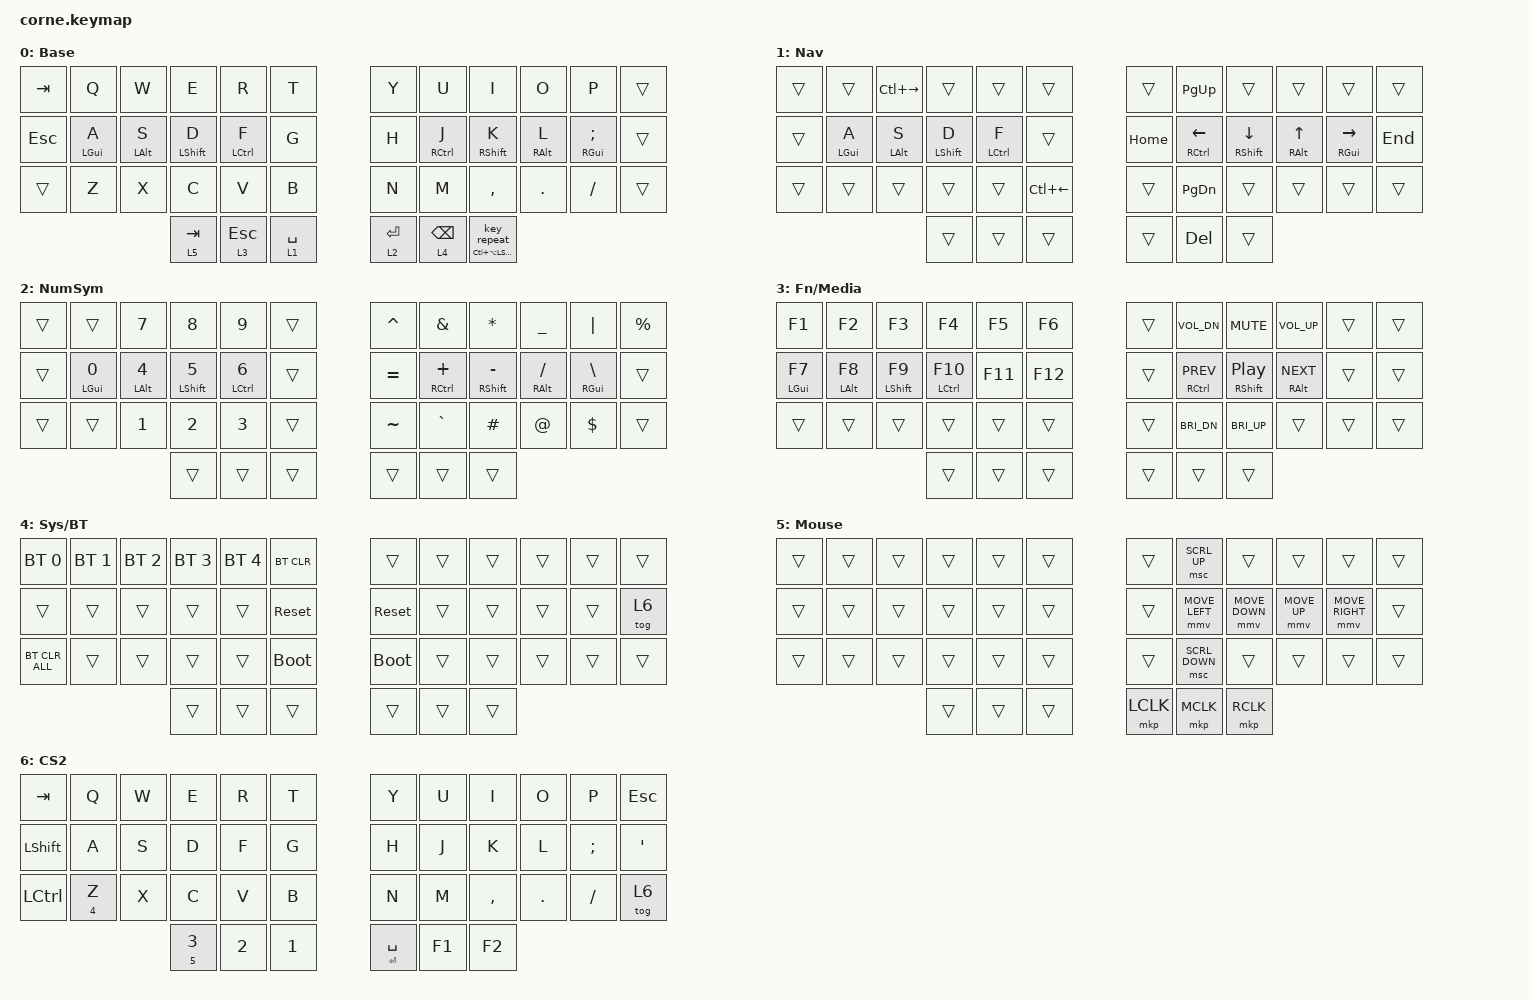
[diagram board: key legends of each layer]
#include <behaviors.dtsi>
#include <dt-bindings/zmk/keys.h>
#include <dt-bindings/zmk/bt.h>
#include <dt-bindings/zmk/pointing.h>

// Key position definitions for Corne (42-key layout)
// Numbers correspond to the key matrix positions
#define KEYS_L  0  1  2  3  4  5 \
               12 13 14 15 16 17 \
               24 25 26 27 28 29

#define KEYS_R  6  7  8  9 10 11 \
               18 19 20 21 22 23 \
               30 31 32 33 34 35

#define THUMBS 36 37 38 39 40 41

// Timing definitions
#define QUICK_TAP_MS 175

// Homerow mod macro definition (adapted from urob's timeless homerow mods)
#define MAKE_HRM(NAME, HOLD, TAP, TRIGGER_POS) \
    ZMK_HOLD_TAP(NAME, \
        bindings = <HOLD>, <TAP>; \
        flavor = "balanced"; \
        tapping-term-ms = <280>; \
        quick-tap-ms = <QUICK_TAP_MS>; \
        require-prior-idle-ms = <150>; \
        hold-trigger-on-release; \
        hold-trigger-key-positions = <TRIGGER_POS>;)

// Define ZMK_HOLD_TAP macro
#define ZMK_HOLD_TAP(name, ...) \
    name: name { \
        compatible = "zmk,behavior-hold-tap"; \
        #binding-cells = <2>; \
        __VA_ARGS__ \
    };


/ {
  behaviors {
    // Left-hand homerow mods
    MAKE_HRM(hml, &kp, &kp, KEYS_R THUMBS)
    
    // Right-hand homerow mods  
    MAKE_HRM(hmr, &kp, &kp, KEYS_L THUMBS)
    
    // Space hold-tap: tap for space, hold for nav layer
    spc_nav: spc_nav {
      compatible = "zmk,behavior-hold-tap";
      #binding-cells = <2>;
      flavor = "balanced";
      tapping-term-ms = <280>;
      quick-tap-ms = <QUICK_TAP_MS>;
      require-prior-idle-ms = <150>;
      bindings = <&mo>, <&kp>;
      hold-trigger-key-positions = <KEYS_L KEYS_R>;
      hold-trigger-on-release;
    };
    
    // Enter hold-tap: tap for enter, hold for numsym layer
    ret_numsym: ret_numsym {
      compatible = "zmk,behavior-hold-tap";
      #binding-cells = <2>;
      flavor = "balanced";
      tapping-term-ms = <280>;
      quick-tap-ms = <QUICK_TAP_MS>;
      require-prior-idle-ms = <150>;
      bindings = <&mo>, <&kp>;
      hold-trigger-key-positions = <KEYS_L KEYS_R>;
      hold-trigger-on-release;
    };
    
    // Function layer hold-tap: tap for function key, hold for fn layer
    fn_key: fn_key {
      compatible = "zmk,behavior-hold-tap";
      #binding-cells = <2>;
      flavor = "balanced";
      tapping-term-ms = <280>;
      quick-tap-ms = <QUICK_TAP_MS>;
      require-prior-idle-ms = <150>;
      bindings = <&mo>, <&kp>;
      hold-trigger-key-positions = <KEYS_L KEYS_R>;
      hold-trigger-on-release;
    };
    
    // System layer hold-tap: tap for key, hold for sys layer
    sys_key: sys_key {
      compatible = "zmk,behavior-hold-tap";
      #binding-cells = <2>;
      flavor = "balanced";
      tapping-term-ms = <280>;
      quick-tap-ms = <QUICK_TAP_MS>;
      require-prior-idle-ms = <150>;
      bindings = <&mo>, <&kp>;
      hold-trigger-key-positions = <KEYS_L KEYS_R>;
      hold-trigger-on-release;
    };
    
    // Mouse layer hold-tap: tap for key, hold for mouse layer
    mouse_key: mouse_key {
      compatible = "zmk,behavior-hold-tap";
      #binding-cells = <2>;
      flavor = "balanced";
      tapping-term-ms = <280>;
      quick-tap-ms = <QUICK_TAP_MS>;
      require-prior-idle-ms = <150>;
      bindings = <&mo>, <&kp>;
      hold-trigger-key-positions = <KEYS_L KEYS_R>;
      hold-trigger-on-release;
    };

    // Backspace hold-tap: tap for backspace, hold for sys layer
    bspc_sys: bspc_sys {
      compatible = "zmk,behavior-hold-tap";
      #binding-cells = <2>;
      flavor = "balanced";
      tapping-term-ms = <280>;
      quick-tap-ms = <QUICK_TAP_MS>;
      require-prior-idle-ms = <150>;
      bindings = <&mo>, <&kp>;
      hold-trigger-key-positions = <KEYS_L KEYS_R>;
      hold-trigger-on-release;
    };

    // Escape hold-tap: tap for escape, hold for fn layer
    esc_fn: esc_fn {
      compatible = "zmk,behavior-hold-tap";
      #binding-cells = <2>;
      flavor = "balanced";
      tapping-term-ms = <280>;
      quick-tap-ms = <QUICK_TAP_MS>;
      require-prior-idle-ms = <150>;
      bindings = <&mo>, <&kp>;
      hold-trigger-key-positions = <KEYS_L KEYS_R>;
      hold-trigger-on-release;
    };

    // Tab hold-tap: tap for tab, hold for mouse layer
    tab_mouse: tab_mouse {
      compatible = "zmk,behavior-hold-tap";
      #binding-cells = <2>;
      flavor = "balanced";
      tapping-term-ms = <280>;
      quick-tap-ms = <QUICK_TAP_MS>;
      require-prior-idle-ms = <150>;
      bindings = <&mo>, <&kp>;
      hold-trigger-key-positions = <KEYS_L KEYS_R>;
      hold-trigger-on-release;
    };

    // Repeat/meh hold-tap: tap for repeat, hold for meh (Ctrl+Alt+Shift)
    repeat_meh: repeat_meh {
      compatible = "zmk,behavior-hold-tap";
      #binding-cells = <2>;
      flavor = "balanced";
      tapping-term-ms = <280>;
      quick-tap-ms = <QUICK_TAP_MS>;
      require-prior-idle-ms = <150>;
      bindings = <&kp>, <&key_repeat>;
      hold-trigger-key-positions = <KEYS_L KEYS_R>;
      hold-trigger-on-release;
    };

  };

  combos {
    compatible = "zmk,combos";
    
    // Parentheses combos on UI and IO
    combo_lpar {
      bindings = <&kp LPAR>;
      key-positions = <7 8>;
      layers = <0>;
      timeout-ms = <18>;
      require-prior-idle-ms = <150>;
    };
    
    combo_rpar {
      bindings = <&kp RPAR>;
      key-positions = <8 9>;
      layers = <0>;
      timeout-ms = <18>;
      require-prior-idle-ms = <150>;
    };
    
    // Braces combos on JK and KL  
    combo_lbrc {
      bindings = <&kp LBRC>;
      key-positions = <19 20>;
      layers = <0>;
      timeout-ms = <18>;
      require-prior-idle-ms = <150>;
    };
    
    combo_rbrc {
      bindings = <&kp RBRC>;
      key-positions = <20 21>;
      layers = <0>;
      timeout-ms = <18>;
      require-prior-idle-ms = <150>;
    };
    
    // Brackets combos on M, and ,.
    combo_lbkt {
      bindings = <&kp LBKT>;
      key-positions = <31 32>;
      layers = <0>;
      timeout-ms = <18>;
      require-prior-idle-ms = <150>;
    };
    
    combo_rbkt {
      bindings = <&kp RBKT>;
      key-positions = <32 33>;
      layers = <0>;
      timeout-ms = <18>;
      require-prior-idle-ms = <150>;
    };

    // Pipe combo on comma, K
    combo_pipe {
      bindings = <&kp PIPE>;
      key-positions = <32 20>;
      layers = <0>;
      timeout-ms = <18>;
      require-prior-idle-ms = <150>;
    };

    // Forward slash combo on U, K, dot
    combo_fslh {
      bindings = <&kp FSLH>;
      key-positions = <7 20 33>;
      layers = <0>;
      timeout-ms = <18>;
      require-prior-idle-ms = <150>;
    };

    // Backslash combo on M, K, O
    combo_bslh {
      bindings = <&kp BSLH>;
      key-positions = <31 20 9>;
      layers = <0>;
      timeout-ms = <18>;
      require-prior-idle-ms = <150>;
    };

    // Em dash combo on J, K, L, semicolon
    combo_emdash {
      bindings = <&kp LA(LS(MINUS))>;
      key-positions = <19 20 21 22>;
      layers = <0>;
      timeout-ms = <18>;
      require-prior-idle-ms = <150>;
    };

    // Minus combo on J, K, L
    combo_minus {
      bindings = <&kp MINUS>;
      key-positions = <19 20 21>;
      layers = <0>;
      timeout-ms = <18>;
      require-prior-idle-ms = <150>;
    };

    // Question mark combo on Q, A
    combo_qmark {
      bindings = <&kp QMARK>;
      key-positions = <1 13>;
      layers = <0>;
      timeout-ms = <18>;
      require-prior-idle-ms = <150>;
    };

    // Exclamation point combo on I, K
    combo_excl {
      bindings = <&kp EXCL>;
      key-positions = <8 20>;
      layers = <0>;
      timeout-ms = <18>;
      require-prior-idle-ms = <150>;
    };

    // Grave accent combo on L, I
    combo_grave {
      bindings = <&kp GRAVE>;
      key-positions = <21 8>;
      layers = <0>;
      timeout-ms = <18>;
      require-prior-idle-ms = <150>;
    };

    // Asterisk combo on I, J
    combo_asterisk {
      bindings = <&kp STAR>;
      key-positions = <8 19>;
      layers = <0>;
      timeout-ms = <18>;
      require-prior-idle-ms = <150>;
    };

    // Circumflex accent combo on J, I, L
    combo_circumflex {
      bindings = <&kp LS(N6)>;
      key-positions = <19 8 21>;
      layers = <0>;
      timeout-ms = <18>;
      require-prior-idle-ms = <150>;
    };

    // Underscore combo on M, comma, dot
    combo_underscore {
      bindings = <&kp UNDER>;
      key-positions = <31 32 33>;
      layers = <0>;
      timeout-ms = <18>;
      require-prior-idle-ms = <150>;
    };

    // Equals combo on U, I, O
    combo_equals {
      bindings = <&kp EQUAL>;
      key-positions = <7 8 9>;
      layers = <0>;
      timeout-ms = <18>;
      require-prior-idle-ms = <150>;
    };

    // Plus combo on U, I, J, K
    combo_plus {
      bindings = <&kp PLUS>;
      key-positions = <7 8 19 20>;
      layers = <0>;
      timeout-ms = <18>;
      require-prior-idle-ms = <150>;
    };

    // Tilde combo on J, K, dot
    combo_tilde {
      bindings = <&kp TILDE>;
      key-positions = <19 20 33>;
      layers = <0>;
      timeout-ms = <18>;
      require-prior-idle-ms = <150>;
    };

    // Percent combo on M, comma, L
    combo_percent {
      bindings = <&kp PRCNT>;
      key-positions = <31 32 21>;
      layers = <0>;
      timeout-ms = <18>;
      require-prior-idle-ms = <150>;
    };

    // Ampersand combo on M, I, L
    combo_ampersand {
      bindings = <&kp AMPS>;
      key-positions = <31 8 21>;
      layers = <0>;
      timeout-ms = <18>;
      require-prior-idle-ms = <150>;
    };

    // Hash combo on M, K, L
    combo_hash {
      bindings = <&kp HASH>;
      key-positions = <31 20 21>;
      layers = <0>;
      timeout-ms = <18>;
      require-prior-idle-ms = <150>;
    };

    // Paste combo on W, E, R
    combo_paste {
      bindings = <&kp LC(LS(V))>;
      key-positions = <2 3 4>;
      layers = <0>;
      timeout-ms = <18>;
      require-prior-idle-ms = <150>;
    };

    // Copy combo on W, R
    combo_copy {
      bindings = <&kp LC(C)>;
      key-positions = <2 4>;
      layers = <0>;
      timeout-ms = <18>;
      require-prior-idle-ms = <150>;
    };

    // Undo combo on W, E
    combo_undo {
      bindings = <&kp LC(Z)>;
      key-positions = <2 3>;
      layers = <0>;
      timeout-ms = <18>;
      require-prior-idle-ms = <150>;
    };

    // Redo combo on E, R
    combo_redo {
      bindings = <&kp LC(Y)>;
      key-positions = <3 4>;
      layers = <0>;
      timeout-ms = <18>;
      require-prior-idle-ms = <150>;
    };

    // Cut combo on W, D, R
    combo_cut {
      bindings = <&kp LC(X)>;
      key-positions = <2 15 4>;
      layers = <0>;
      timeout-ms = <18>;
      require-prior-idle-ms = <150>;
    };

    // Dollar combo on U, I, L
    combo_dollar {
      bindings = <&kp DLLR>;
      key-positions = <7 8 21>;
      layers = <0>;
      timeout-ms = <18>;
      require-prior-idle-ms = <150>;
    };

    // At symbol combo on U, K, L
    combo_at {
      bindings = <&kp AT>;
      key-positions = <7 20 21>;
      layers = <0>;
      timeout-ms = <18>;
      require-prior-idle-ms = <150>;
    };

    // Single quote combo on U, J
    combo_single_quote {
      bindings = <&kp SQT>;
      key-positions = <7 19>;
      layers = <0>;
      timeout-ms = <18>;
      require-prior-idle-ms = <150>;
    };

    // Double quote combo on J, U, O, L
    combo_double_quote {
      bindings = <&kp DQT>;
      key-positions = <19 7 9 21>;
      layers = <0>;
      timeout-ms = <18>;
      require-prior-idle-ms = <150>;
    };

    // Caps lock combo on D, K
    combo_caps_lock {
      bindings = <&kp CAPS>;
      key-positions = <15 20>;
      layers = <0>;
      timeout-ms = <18>;
      require-prior-idle-ms = <150>;
    };
  };

  keymap {
    compatible = "zmk,keymap";
    
    default_layer {
      display-name = "Base";
      bindings = <
        // ╭─────────────┬─────────────┬─────────────┬─────────────┬─────────────┬─────────────╮          ╭─────────────┬─────────────┬─────────────┬─────────────┬─────────────┬─────────────╮
              &kp TAB         &kp Q         &kp W         &kp E         &kp R         &kp T                    &kp Y         &kp U         &kp I         &kp O         &kp P        &trans
        // ├─────────────┼─────────────┼─────────────┼─────────────┼─────────────┼─────────────┤          ├─────────────┼─────────────┼─────────────┼─────────────┼─────────────┼─────────────┤
              &kp ESC      &hml LGUI A   &hml LALT S   &hml LSHFT D  &hml LCTRL F     &kp G                    &kp H      &hmr RCTRL J  &hmr RSHFT K  &hmr RALT L  &hmr RGUI SEMI   &trans      
        // ├─────────────┼─────────────┼─────────────┼─────────────┼─────────────┼─────────────┤          ├─────────────┼─────────────┼─────────────┼─────────────┼─────────────┼─────────────┤
               &trans         &kp Z         &kp X         &kp C         &kp V         &kp B                    &kp N         &kp M       &kp COMMA      &kp DOT       &kp FSLH       &trans       
        // ╰─────────────┴─────────────┴─────────────┼─────────────┼─────────────┼─────────────┤          ├─────────────┼─────────────┼─────────────┼─────────────┴─────────────┴─────────────╯
                                                       &tab_mouse 5 TAB &esc_fn 3 ESC  &spc_nav 1 SPACE     &ret_numsym 2 RET  &bspc_sys 4 BSPC &repeat_meh LC(LA(LSHFT)) 0    
        //                                           ╰─────────────┴─────────────┐             │          │             ┌─────────────┴─────────────╯
        //                                                                       ╰─────────────╯          ╰─────────────╯
      >;
    };
    
    nav {
      display-name = "Nav";
      bindings = <
        // ╭─────────────┬─────────────┬─────────────┬─────────────┬─────────────┬─────────────╮          ╭─────────────┬─────────────┬─────────────┬─────────────┬─────────────┬─────────────╮
              &trans        &trans     &kp LC(RIGHT)    &trans        &trans        &trans                   &trans        &kp PG_UP      &trans        &trans        &trans        &trans     
        // ├─────────────┼─────────────┼─────────────┼─────────────┼─────────────┼─────────────┤          ├─────────────┼─────────────┼─────────────┼─────────────┼─────────────┼─────────────┤
              &trans     &hml LGUI A   &hml LALT S   &hml LSHFT D  &hml LCTRL F     &trans                   &kp HOME  &hmr RCTRL LEFT &hmr RSHFT DOWN &hmr RALT UP &hmr RGUI RIGHT  &kp END      
        // ├─────────────┼─────────────┼─────────────┼─────────────┼─────────────┼─────────────┤          ├─────────────┼─────────────┼─────────────┼─────────────┼─────────────┼─────────────┤
               &trans         &trans        &trans        &trans        &trans     &kp LC(LEFT)              &trans        &kp PG_DN      &trans        &trans        &trans        &trans       
        // ╰─────────────┴─────────────┴─────────────┼─────────────┼─────────────┼─────────────┤          ├─────────────┼─────────────┼─────────────┼─────────────┴─────────────┴─────────────╯
                                                          &trans        &trans        &trans                 &trans         &kp DEL       &trans       
        //                                           ╰─────────────┴─────────────┐             │          │             ┌─────────────┴─────────────╯
        //                                                                       ╰─────────────╯          ╰─────────────╯
      >;
    };
    
    numsym {
      display-name = "NumSym";
      bindings = <
        // ╭─────────────┬─────────────┬─────────────┬─────────────┬─────────────┬─────────────╮          ╭─────────────┬─────────────┬─────────────┬─────────────┬─────────────┬─────────────╮
              &trans         &trans        &kp N7        &kp N8        &kp N9        &trans                   &kp CARET     &kp AMPS      &kp STAR      &kp UNDER     &kp PIPE      &kp PRCNT     
        // ├─────────────┼─────────────┼─────────────┼─────────────┼─────────────┼─────────────┤          ├─────────────┼─────────────┼─────────────┼─────────────┼─────────────┼─────────────┤
              &trans      &hml LGUI N0  &hml LALT N4  &hml LSHFT N5 &hml LCTRL N6    &trans                   &kp EQUAL  &hmr RCTRL PLUS &hmr RSHFT MINUS &hmr RALT FSLH &hmr RGUI BSLH  &trans      
        // ├─────────────┼─────────────┼─────────────┼─────────────┼─────────────┼─────────────┤          ├─────────────┼─────────────┼─────────────┼─────────────┼─────────────┼─────────────┤
               &trans        &trans        &kp N1        &kp N2        &kp N3        &trans                   &kp TILDE     &kp GRAVE     &kp HASH      &kp AT        &kp DLLR      &trans       
        // ╰─────────────┴─────────────┴─────────────┼─────────────┼─────────────┼─────────────┤          ├─────────────┼─────────────┼─────────────┼─────────────┴─────────────┴─────────────╯
                                                          &trans        &trans        &trans                   &trans        &trans        &trans       
        //                                           ╰─────────────┴─────────────┐             │          │             ┌─────────────┴─────────────╯
        //                                                                       ╰─────────────╯          ╰─────────────╯
      >;
    };
    
    fn {
      display-name = "Fn/Media";
      bindings = <
        // ╭─────────────┬─────────────┬─────────────┬─────────────┬─────────────┬─────────────╮          ╭─────────────┬─────────────┬─────────────┬─────────────┬─────────────┬─────────────╮
               &kp F1        &kp F2        &kp F3        &kp F4        &kp F5        &kp F6                   &trans    &kp C_VOL_DN  &kp C_MUTE    &kp C_VOL_UP    &trans        &trans     
        // ├─────────────┼─────────────┼─────────────┼─────────────┼─────────────┼─────────────┤          ├─────────────┼─────────────┼─────────────┼─────────────┼─────────────┼─────────────┤
              &hml LGUI F7  &hml LALT F8  &hml LSHFT F9 &hml LCTRL F10 &kp F11       &kp F12                  &trans   &hmr RCTRL C_PREV &hmr RSHFT C_PP &hmr RALT C_NEXT  &trans        &trans      
        // ├─────────────┼─────────────┼─────────────┼─────────────┼─────────────┼─────────────┤          ├─────────────┼─────────────┼─────────────┼─────────────┼─────────────┼─────────────┤
               &trans        &trans        &trans        &trans        &trans        &trans                   &trans   &kp C_BRI_DN  &kp C_BRI_UP    &trans        &trans        &trans       
        // ╰─────────────┴─────────────┴─────────────┼─────────────┼─────────────┼─────────────┤          ├─────────────┼─────────────┼─────────────┼─────────────┴─────────────┴─────────────╯
                                                          &trans        &trans        &trans                   &trans        &trans        &trans       
        //                                           ╰─────────────┴─────────────┐             │          │             ┌─────────────┴─────────────╯
        //                                                                       ╰─────────────╯          ╰─────────────╯
      >;
    };
    
    sys {
      display-name = "Sys/BT";
      bindings = <
        // ╭─────────────┬─────────────┬─────────────┬─────────────┬─────────────┬─────────────╮          ╭─────────────┬─────────────┬─────────────┬─────────────┬─────────────┬─────────────╮
           &bt BT_SEL 0  &bt BT_SEL 1  &bt BT_SEL 2  &bt BT_SEL 3  &bt BT_SEL 4   &bt BT_CLR                &trans        &trans        &trans        &trans        &trans        &trans     
        // ├─────────────┼─────────────┼─────────────┼─────────────┼─────────────┼─────────────┤          ├─────────────┼─────────────┼─────────────┼─────────────┼─────────────┼─────────────┤
              &trans        &trans        &trans        &trans        &trans      &sys_reset               &sys_reset      &trans        &trans        &trans        &trans        &tog 6      
        // ├─────────────┼─────────────┼─────────────┼─────────────┼─────────────┼─────────────┤          ├─────────────┼─────────────┼─────────────┼─────────────┼─────────────┼─────────────┤
           &bt BT_CLR_ALL    &trans        &trans        &trans        &trans      &bootloader              &bootloader      &trans        &trans        &trans        &trans        &trans       
        // ╰─────────────┴─────────────┴─────────────┼─────────────┼─────────────┼─────────────┤          ├─────────────┼─────────────┼─────────────┼─────────────┴─────────────┴─────────────╯
                                                          &trans        &trans        &trans                   &trans        &trans        &trans       
        //                                           ╰─────────────┴─────────────┐             │          │             ┌─────────────┴─────────────╯
        //                                                                       ╰─────────────╯          ╰─────────────╯
      >;
    };
    
    mouse {
      display-name = "Mouse";
      bindings = <
        // ╭─────────────┬─────────────┬─────────────┬─────────────┬─────────────┬─────────────╮          ╭─────────────┬─────────────┬─────────────┬─────────────┬─────────────┬─────────────╮
              &trans        &trans        &trans        &trans        &trans        &trans                   &trans      &msc SCRL_UP    &trans        &trans        &trans        &trans     
        // ├─────────────┼─────────────┼─────────────┼─────────────┼─────────────┼─────────────┤          ├─────────────┼─────────────┼─────────────┼─────────────┼─────────────┼─────────────┤
              &trans        &trans        &trans        &trans        &trans        &trans                   &trans    &mmv MOVE_LEFT &mmv MOVE_DOWN  &mmv MOVE_UP &mmv MOVE_RIGHT  &trans      
        // ├─────────────┼─────────────┼─────────────┼─────────────┼─────────────┼─────────────┤          ├─────────────┼─────────────┼─────────────┼─────────────┼─────────────┼─────────────┤
               &trans        &trans        &trans        &trans        &trans        &trans                   &trans    &msc SCRL_DOWN    &trans        &trans        &trans        &trans       
        // ╰─────────────┴─────────────┴─────────────┼─────────────┼─────────────┼─────────────┤          ├─────────────┼─────────────┼─────────────┼─────────────┴─────────────┴─────────────╯
                                                          &trans        &trans        &trans                 &mkp LCLK   &mkp MCLK      &mkp RCLK     
        //                                           ╰─────────────┴─────────────┐             │          │             ┌─────────────┴─────────────╯
        //                                                                       ╰─────────────╯          ╰─────────────╯
      >;
    };
    
    cs2 {
      display-name = "CS2";
      bindings = <
        // ╭─────────────┬─────────────┬─────────────┬─────────────┬─────────────┬─────────────╮          ╭─────────────┬─────────────┬─────────────┬─────────────┬─────────────┬─────────────╮
              &kp TAB       &kp Q         &kp W         &kp E         &kp R         &kp T                    &kp Y         &kp U         &kp I         &kp O         &kp P        &kp ESC
        // ├─────────────┼─────────────┼─────────────┼─────────────┼─────────────┼─────────────┤          ├─────────────┼─────────────┼─────────────┼─────────────┼─────────────┼─────────────┤
             &kp LSHIFT      &kp A         &kp S         &kp D         &kp F         &kp G                    &kp H         &kp J         &kp K         &kp L       &kp SEMI      &kp SQT      
        // ├─────────────┼─────────────┼─────────────┼─────────────┼─────────────┼─────────────┤          ├─────────────┼─────────────┼─────────────┼─────────────┼─────────────┼─────────────┤
             &kp LCTRL      &mt N4 Z        &kp X         &kp C         &kp V         &kp B                    &kp N         &kp M       &kp COMMA      &kp DOT       &kp FSLH      &tog 6       
        // ╰─────────────┴─────────────┴─────────────┼─────────────┼─────────────┼─────────────┤          ├─────────────┼─────────────┼─────────────┼─────────────┴─────────────┴─────────────╯
                                                          &mt N5 N3     &kp N2       &kp N1           &mt RET SPACE     &kp F1        &kp F2       
        //                                           ╰─────────────┴─────────────┐             │          │             ┌─────────────┴─────────────╯
        //                                                                       ╰─────────────╯          ╰─────────────╯
      >;
    };
  };
};
